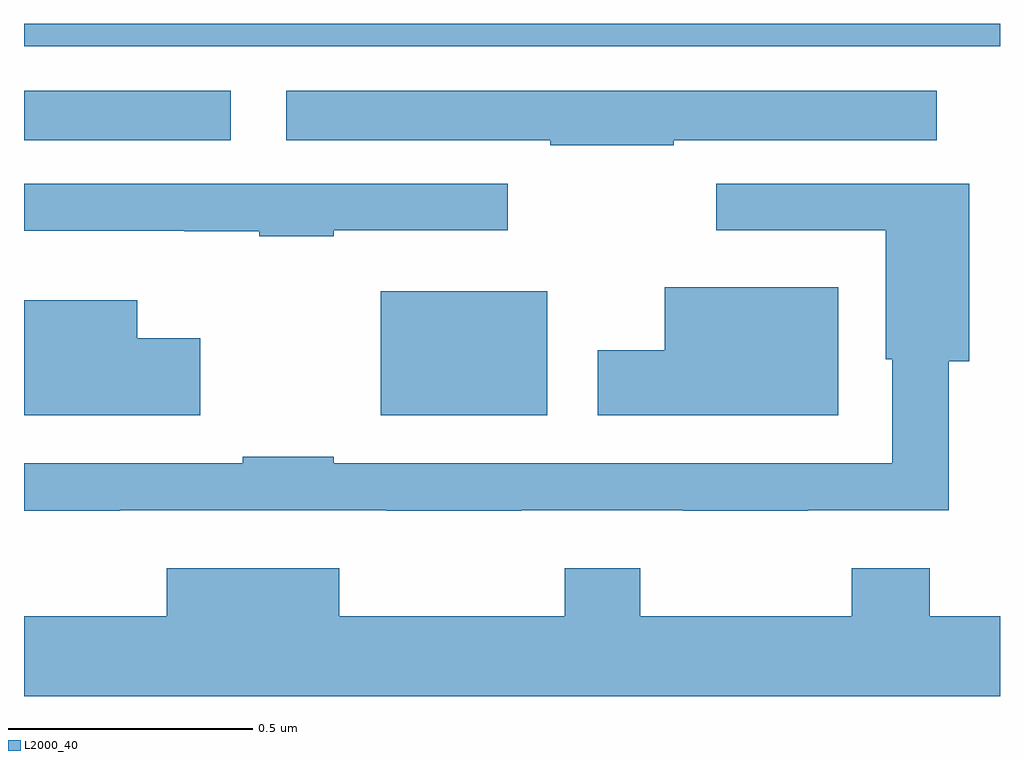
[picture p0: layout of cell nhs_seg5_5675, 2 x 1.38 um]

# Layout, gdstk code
import gdstk
lib = gdstk.Library(unit=1e-6, precision=1e-09)
def R(c, l, rs):  # rectangles x0, y0, x1, y1
    for r in rs: c.add(gdstk.rectangle(r[:2], r[2:], *l))
def P(c, l, *ps):  # polygons
    for p in ps: c.add(gdstk.Polygon(p, *l))
L2000_40 = (2000, 40)

nhs_seg5_5675 = lib.new_cell('nhs_seg5_5675')
R(nhs_seg5_5675, L2000_40, [(186.731,863.996,187.072,864.25), (186,864.56,186.424,864.661), (186,864.752,188,864.799)])
P(nhs_seg5_5675, L2000_40, [(187.331,864.56),(187.87,864.56),(187.87,864.661),(186.537,864.661),(186.537,864.56),(187.078,864.56),(187.078,864.55),(187.331,864.55)],
  [(186.197,863.802),(186.742,863.802),(186.742,863.801),(187.019,863.801),(187.019,863.802),(187.351,863.802),(187.351,863.801),(187.607,863.801),(187.607,863.802),(187.895,863.802),(187.895,864.107),(187.937,864.107),(187.937,864.471),(187.419,864.471),(187.419,864.375),(187.766,864.375),(187.766,864.111),(187.779,864.111),(187.779,863.898),(186.635,863.898),(186.635,863.911),(186.448,863.911),(186.448,863.898),(186,863.898),(186,863.801),(186.197,863.801)],
  [(186.635,864.375),(186.991,864.375),(186.991,864.471),(186,864.471),(186,864.374),(186.328,864.374),(186.328,864.373),(186.482,864.373),(186.482,864.363),(186.635,864.363)],
  [(187.669,864.259),(187.313,864.259),(187.313,864.129),(187.176,864.129),(187.176,863.996),(187.669,863.996)],
  [(186.361,864.154),(186.232,864.154),(186.232,864.232),(186,864.232),(186,863.996),(186.361,863.996)],
  [(188,863.584),(187.856,863.584),(187.856,863.683),(187.696,863.683),(187.696,863.584),(187.263,863.584),(187.263,863.683),(187.108,863.683),(187.108,863.584),(186.646,863.584),(186.646,863.683),(186.293,863.683),(186.293,863.584),(186,863.584),(186,863.42),(188,863.42)])

lib.write_gds('nhs_seg5_5675.gds')
